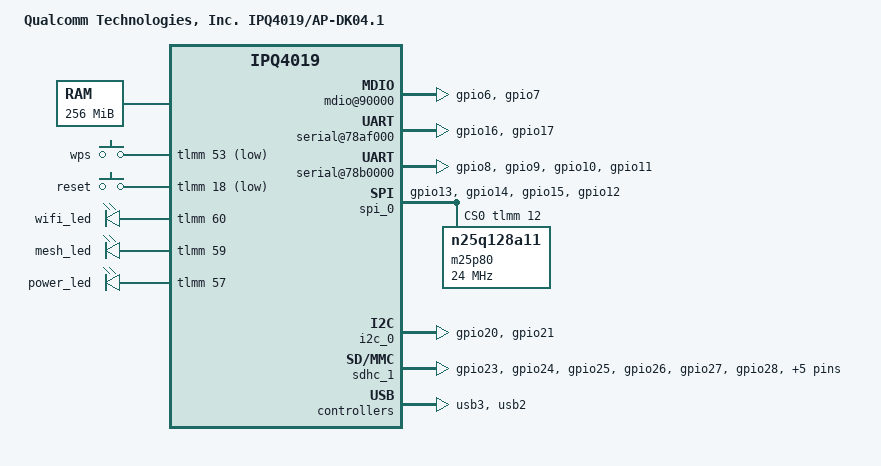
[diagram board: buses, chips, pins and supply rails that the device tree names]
/* Copyright (c) 2015 - 2016, The Linux Foundation. All rights reserved.
 *
 * Permission to use, copy, modify, and/or distribute this software for any
 * purpose with or without fee is hereby granted, provided that the above
 * copyright notice and this permission notice appear in all copies.
 *
 * THE SOFTWARE IS PROVIDED "AS IS" AND THE AUTHOR DISCLAIMS ALL WARRANTIES
 * WITH REGARD TO THIS SOFTWARE INCLUDING ALL IMPLIED WARRANTIES OF
 * MERCHANTABILITY AND FITNESS. IN NO EVENT SHALL THE AUTHOR BE LIABLE FOR
 * ANY SPECIAL, DIRECT, INDIRECT, OR CONSEQUENTIAL DAMAGES OR ANY DAMAGES
 * WHATSOEVER RESULTING FROM LOSS OF USE, DATA OR PROFITS, WHETHER IN AN
 * ACTION OF CONTRACT, NEGLIGENCE OR OTHER TORTIOUS ACTION, ARISING OUT OF
 * OR IN CONNECTION WITH THE USE OR PERFORMANCE OF THIS SOFTWARE.
 *
 */

#include "qcom-ipq4019.dtsi"
#include "qcom-ipq4019-mhi.dtsi"
#include <dt-bindings/input/input.h>
#include <dt-bindings/gpio/gpio.h>

/ {
	model = "Qualcomm Technologies, Inc. IPQ4019/AP-DK04.1";
	compatible = "qcom,ipq4019";

	memory {
		device_type = "memory";
		reg = <0x80000000 0x10000000>; /* 256MB */
	};

	reserved-memory {
		#address-cells = <1>;
		#size-cells = <1>;
		ranges;
		rsvd1@87000000 {
			/* Reserved for other subsystem */
			reg = <0x87000000 0x500000>;
			no-map;
		};
		wifi_dump@87500000 {
			reg = <0x87500000 0x600000>;
			no-map;
		};

		rsvd2@87B00000 {
			/* Reserved for other subsystem */
			reg = <0x87B00000 0x500000>;
			no-map;
		};
	};

	chosen {
		bootargs-append = " clk_ignore_unused";
	};

	aliases {
		sdhc1 = &sdhc_1;
	};

	soc {
		pinctrl@0x01000000 {
			serial_0_pins: serial0_pinmux {
				mux {
					pins = "gpio16", "gpio17";
					function = "blsp_uart0";
					bias-disable;
				};
			};

			serial_1_pins: serial1_pinmux {
				mux {
					pins = "gpio8", "gpio9",
						"gpio10", "gpio11";
					function = "blsp_uart1";
					bias-disable;
				};
			};

			spi_0_pins: spi_0_pinmux {
				pinmux {
					function = "blsp_spi0";
					pins = "gpio13", "gpio14", "gpio15";
					bias-disable;
				};
				pinmux_cs {
					function = "gpio";
					pins = "gpio12";
					bias-disable;
					output-high;
				};
			};

			spi_1_pins: spi_1_pinmux {
				mux {
					pins = "gpio44", "gpio46", "gpio47";
					function = "blsp_spi1";
					bias-disable;
				};
				host_int {
					pins = "gpio42";
					function = "gpio";
					input;
				};
				cs {
					pins = "gpio45";
					function = "gpio";
					bias-pull-up;
				};
				wake {
					pins = "gpio40";
					function = "gpio";
					output-high;
				};
				reset {
					pins = "gpio49";
					function = "gpio";
					output-high;
				};
			};

			i2c_0_pins: i2c_0_pinmux {
				mux {
					pins = "gpio20", "gpio21";
					function = "blsp_i2c0";
					bias-disable;
				};
			};

			sd_0_pins: sd_0_pinmux {
				sd0 {
					pins = "gpio23";
					function = "sdio0";
					pull-res = <RES_35_KOHM>;
					drive-type = <DRV_TYPE_C>;
					vm-enable;
				};
				sd1 {
					pins = "gpio24";
					function = "sdio1";
					pull-res = <RES_35_KOHM>;
					drive-type = <DRV_TYPE_C>;
					vm-enable;
				};
				sd2 {
					pins = "gpio25";
					function = "sdio2";
					pull-res = <RES_35_KOHM>;
					drive-type = <DRV_TYPE_C>;
					vm-enable;
				};
				sd3 {
					pins = "gpio26";
					function = "sdio3";
					pull-res = <RES_35_KOHM>;
					drive-type = <DRV_TYPE_C>;
					vm-enable;
				};
				sdclk {
					pins = "gpio27";
					function = "sdio_clk";
					pull-res = <RES_35_KOHM>;
					drive-type = <DRV_TYPE_A>;
					vm-enable;
				};
				sdcmd {
					pins = "gpio28";
					function = "sdio_cmd";
					pull-res = <RES_35_KOHM>;
					drive-type = <DRV_TYPE_C>;
					vm-enable;
				};
				sd4 {
					pins = "gpio29";
					function = "sdio4";
					pull-res = <RES_35_KOHM>;
					drive-type = <DRV_TYPE_C>;
					vm-enable;
				};
				sd5 {
					pins = "gpio30";
					function = "sdio5";
					pull-res = <RES_35_KOHM>;
					drive-type = <DRV_TYPE_C>;
					vm-enable;
				};
				sd6 {
					pins = "gpio31";
					function = "sdio6";
					pull-res = <RES_35_KOHM>;
					drive-type = <DRV_TYPE_C>;
					vm-enable;
				};
				sd7 {
					pins = "gpio32";
					function = "sdio7";
					pull-res = <RES_35_KOHM>;
					drive-type = <DRV_TYPE_C>;
					vm-enable;
				};
			};

			sd_1_pins: sd_1_pinmux {
				sd0 {
					pins = "gpio23";
					function = "sdio0";
					pull-res = <RES_35_KOHM>;
					drive-type = <DRV_TYPE_D>;
					vm-enable;
				};
				sd1 {
					pins = "gpio24";
					function = "sdio1";
					pull-res = <RES_35_KOHM>;
					drive-type = <DRV_TYPE_D>;
					vm-enable;
				};
				sd2 {
					pins = "gpio25";
					function = "sdio2";
					pull-res = <RES_35_KOHM>;
					drive-type = <DRV_TYPE_D>;
					vm-enable;
				};
				sd3 {
					pins = "gpio26";
					function = "sdio3";
					pull-res = <RES_35_KOHM>;
					drive-type = <DRV_TYPE_D>;
					vm-enable;
				};
				sdclk {
					pins = "gpio27";
					function = "sdio_clk";
					pull-res = <RES_35_KOHM>;
					drive-type = <DRV_TYPE_D>;
					vm-enable;
				};
				sdcmd {
					pins = "gpio28";
					function = "sdio_cmd";
					pull-res = <RES_35_KOHM>;
					drive-type = <DRV_TYPE_D>;
					vm-enable;
				};
				sd4 {
					pins = "gpio29";
					function = "sdio4";
					pull-res = <RES_35_KOHM>;
					drive-type = <DRV_TYPE_D>;
					vm-enable;
				};
				sd5 {
					pins = "gpio30";
					function = "sdio5";
					pull-res = <RES_35_KOHM>;
					drive-type = <DRV_TYPE_D>;
					vm-enable;
				};
				sd6 {
					pins = "gpio31";
					function = "sdio6";
					pull-res = <RES_35_KOHM>;
					drive-type = <DRV_TYPE_D>;
					vm-enable;
				};
				sd7 {
					pins = "gpio32";
					function = "sdio7";
					pull-res = <RES_35_KOHM>;
					drive-type = <DRV_TYPE_D>;
					vm-enable;
				};
			};

			mdio_pins: mdio_pinmux {
				mux_1 {
					pins = "gpio6";
					function = "mdio0";
					bias-pull-up;
				};
				mux_2 {
					pins = "gpio7";
					function = "mdc";
					bias-pull-up;
				};
			};
		};

		mdio@90000 {
			status = "ok";
			pinctrl-0 = <&mdio_pins>;
			pinctrl-names = "default";
			phy-reset-gpio = <&tlmm 41 0>;
			bias-disable;
		};

		serial@78af000 {
			pinctrl-0 = <&serial_0_pins>;
			pinctrl-names = "default";
			status = "ok";
		};

		serial@78b0000 {
			pinctrl-0 = <&serial_1_pins>;
			pinctrl-names = "default";
			status = "ok";
		};

		spi_0: spi@78b5000 { /* BLSP1 QUP1 */
			pinctrl-0 = <&spi_0_pins>;
			pinctrl-names = "default";
			status = "ok";
			cs-gpios = <&tlmm 12 0>;

			m25p80@0 {
				#address-cells = <1>;
				#size-cells = <1>;
				reg = <0>;
				compatible = "n25q128a11";
				linux,modalias = "m25p80", "n25q128a11";
				spi-max-frequency = <24000000>;
				use-default-sizes;
			};
		};

		spi_1: spi@78b6000 { /* BLSP1 QUP2 */
			pinctrl-0 = <&spi_1_pins>;
			pinctrl-names = "default";
			status = "disabled";

			spidev1: spi@1 {
				compatible = "qca,spidev";
				reg = <0>;
				spi-max-frequency = <24000000>;
			};
		};

		i2c_0: i2c@78b7000 { /* BLSP1 QUP2 */
			pinctrl-0 = <&i2c_0_pins>;
			pinctrl-names = "default";
			status = "ok";

			lcd_ts: lcd_ts@40 {
				compatible = "qca,gsl1680_ts";
				reg = <0x40>;
				status = "disabled";
			};
		};

		ess-switch@c000000 {
			switch_mac_mode = <0x0>; /* mac mode for RGMII RMII */
			switch_initvlas = <
				0x0007c 0x54 /* PORT0_STATUS */
			>;
		};

		vccq_sd0: regulator@0 {
			compatible = "qcom,regulator-ipq40xx";
			regulator-name = "SD0 VccQ";
			regulator-min-microvolt = <1800000>;
			regulator-max-microvolt = <3000000>;
			states = <3000000 0x3
				1800000 0x1>;
			reg = <0x01948000 0x4>;
			mask = <0x3>;
		};

		sdhc_1: sdhci@7824000{
			status = "ok";
			qcom,bus-speed-mode = "HS200_1p8v", "DDR_1p8v";
			qcom,clk-rates = <400000 25000000 50000000 100000000 \
					 192000000 384000000>;
			pinctrl-0 = <&sd_0_pins>;
			pinctrl-1 = <&sd_1_pins>;
			pinctrl-names = "active", "sleep";
			vqmmc-supply = <&vccq_sd0>;
			cd-gpios = <&tlmm 22 0x1>;
			sd-ldo-gpios = <&tlmm 33 0x1>;
		};

		tcsr: tcsr@194b000 {
			status = "ok";
		};

		usb3_ss_phy: ssphy@0 {
			status = "ok";
		};

		usb3_hs_phy: hsphy@a6000 {
			status = "ok";
		};

		usb2_hs_phy: hsphy@a8000 {
			status = "ok";
		};

		usb3: usb3@8a00000 {
			status = "ok";
		};

		usb2: usb2@6000000 {
			status = "ok";
		};

		qpic_bam: dma@7984000{
			status = "ok";
		};

		gpio_keys {
			compatible = "gpio-keys";

			button@1 {
				label = "wps";
				linux,code = <KEY_WPS_BUTTON>;
				gpios = <&tlmm 53 GPIO_ACTIVE_LOW>;
				linux,input-type = <1>;
			};

			button@2 {
				label = "reset";
				linux,code = <KEY_RESTART>;
				gpios = <&tlmm 18 GPIO_ACTIVE_LOW>;
				linux,input-type = <1>;
			};
		};

		wifi0: wifi@a000000 {
			wifi-led-gpios = <&tlmm 60 1>;
			qcom,mtd-name = "0:ART";
			qcom,cal-offset = <0x1000>;
			qcom,cal-len = <12064>;
		};

		wifi1: wifi@a800000 {
			wifi-led-gpios = <&tlmm 60 1>;
			qcom,mtd-name = "0:ART";
			qcom,cal-offset = <0x5000>;
			qcom,cal-len = <12064>;
		};

		gpio-leds {
			compatible = "gpio-leds";

			wifi {
				label = "wifi_led";
				gpios = <&tlmm 60 GPIO_ACTIVE_HIGH>;
			};
			mesh {
				label = "mesh_led";
				gpios = <&tlmm 59 GPIO_ACTIVE_HIGH>;
			};
			power {
				label = "power_led";
				gpios = <&tlmm 57 GPIO_ACTIVE_HIGH>;
				default-state = "on";
			};
		};
	};
};
